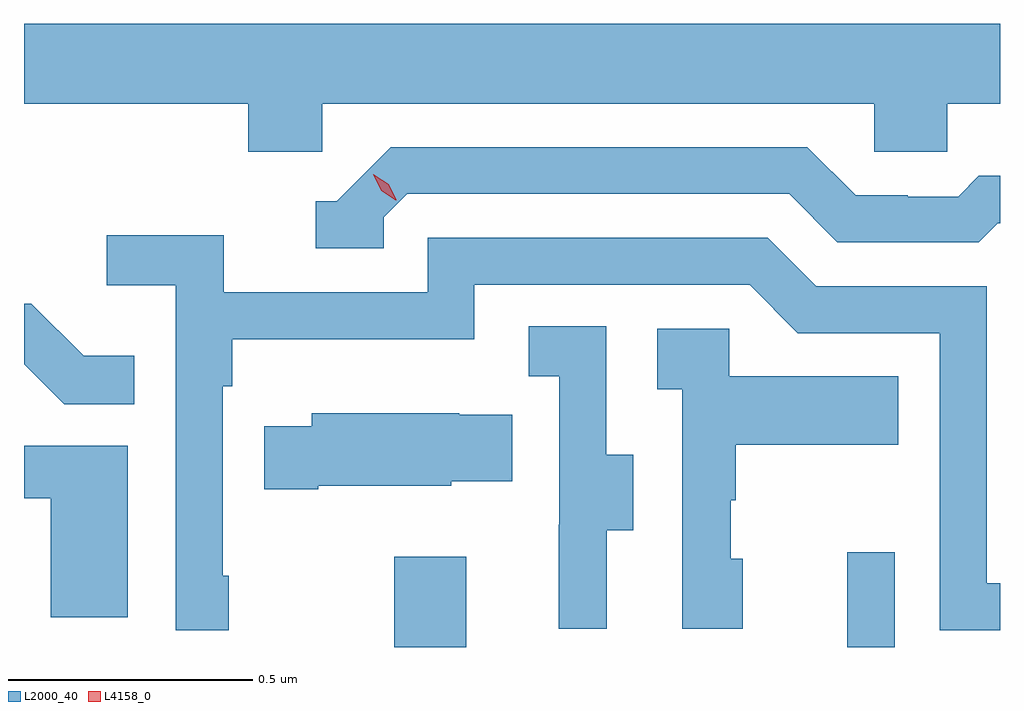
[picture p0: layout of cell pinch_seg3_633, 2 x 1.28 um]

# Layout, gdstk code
import gdstk
lib = gdstk.Library(unit=1e-6, precision=1e-09)
def R(c, l, rs):  # rectangles x0, y0, x1, y1
    for r in rs: c.add(gdstk.rectangle(r[:2], r[2:], *l))
def P(c, l, *ps):  # polygons
    for p in ps: c.add(gdstk.Polygon(p, *l))
L2000_40 = (2000, 40)
L4158_0 = (4158, 0)

pinch_seg3_633 = lib.new_cell('pinch_seg3_633')
R(pinch_seg3_633, L2000_40, [(1054.714,675.826,1054.861,676.012), (1055.642,675.826,1055.739,676.021)])
P(pinch_seg3_633, L2000_40, [(1054.566,676.94),(1055.697,676.94),(1055.697,676.842),(1055.847,676.842),(1055.847,676.94),(1055.955,676.94),(1055.955,677.104),(1053.955,677.104),(1053.955,676.94),(1054.415,676.94),(1054.415,676.842),(1054.566,676.842)],
  [(1054.692,676.707),(1054.74,676.755),(1055.523,676.755),(1055.622,676.656),(1055.911,676.656),(1055.95,676.695),(1055.955,676.695),(1055.955,676.792),(1055.911,676.792),(1055.869,676.749),(1055.766,676.749),(1055.766,676.752),(1055.659,676.752),(1055.56,676.851),(1054.707,676.851),(1054.596,676.74),(1054.553,676.74),(1054.553,676.644),(1054.692,676.644)],
  [(1054.375,675.973),(1054.362,675.973),(1054.362,676.361),(1054.382,676.361),(1054.382,676.457),(1054.878,676.457),(1054.878,676.569),(1055.442,676.569),(1055.541,676.47),(1055.832,676.47),(1055.832,675.861),(1055.955,675.861),(1055.955,675.957),(1055.928,675.957),(1055.928,676.566),(1055.578,676.566),(1055.479,676.665),(1054.782,676.665),(1054.782,676.554),(1054.364,676.554),(1054.364,676.67),(1054.125,676.67),(1054.125,676.568),(1054.266,676.568),(1054.266,675.861),(1054.375,675.861)],
  [(1054.181,676.423),(1054.077,676.423),(1053.97,676.53),(1053.955,676.53),(1053.955,676.406),(1054.037,676.324),(1054.181,676.324)],
  [(1055.149,676.066),(1055.203,676.066),(1055.203,676.221),(1055.148,676.221),(1055.148,676.484),(1054.989,676.484),(1054.989,676.381),(1055.052,676.381),(1055.052,676.077),(1055.051,676.077),(1055.051,675.864),(1055.149,675.864)],
  [(1055.428,676.008),(1055.403,676.008),(1055.403,676.127),(1055.413,676.127),(1055.413,676.241),(1055.747,676.241),(1055.747,676.381),(1055.4,676.381),(1055.4,676.479),(1055.253,676.479),(1055.253,676.355),(1055.304,676.355),(1055.304,675.864),(1055.428,675.864)],
  [(1054.558,676.157),(1054.83,676.157),(1054.83,676.166),(1054.955,676.166),(1054.955,676.303),(1054.847,676.303),(1054.847,676.306),(1054.545,676.306),(1054.545,676.279),(1054.447,676.279),(1054.447,676.15),(1054.558,676.15)],
  [(1054.168,676.239),(1053.955,676.239),(1053.955,676.131),(1054.01,676.131),(1054.01,675.888),(1054.168,675.888)])
P(pinch_seg3_633, L4158_0, [(1054.717,676.742),(1054.687,676.762),(1054.671,676.795),(1054.671,676.795),(1054.671,676.795),(1054.702,676.775),(1054.718,676.743),(1054.718,676.742)])

lib.write_gds('pinch_seg3_633.gds')
